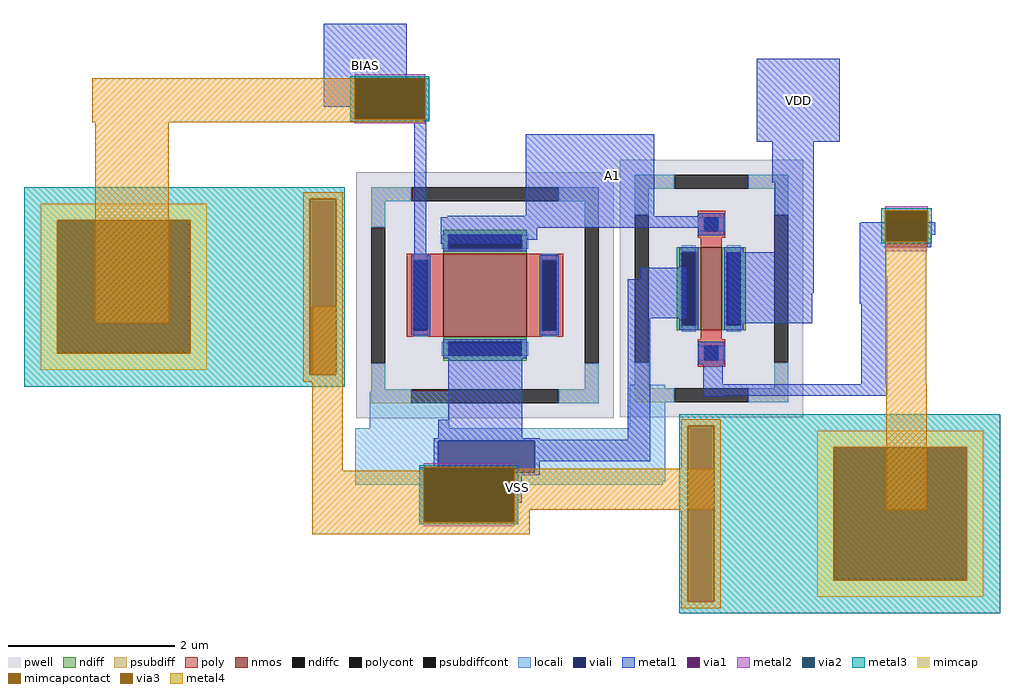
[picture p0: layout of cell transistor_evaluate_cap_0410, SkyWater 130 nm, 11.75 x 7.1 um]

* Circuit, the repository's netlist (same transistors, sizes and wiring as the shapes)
** sch_path: /home/isshu/tt_um_wakita_mux8onehot_pulldown_mosfet_fix/sch/transistor_evaluate_cap_0410.sch
.subckt transistor_evaluate_cap_0410 VSS A1 BIAS VDD
*.PININFO VDD:I VSS:I BIAS:I A1:I
XM4 VDD A1 VSS VSS sky130_fd_pr__nfet_01v8 L=0.25 W=1 nf=1 m=1
XM5 A1 BIAS VSS VSS sky130_fd_pr__nfet_01v8 L=1 W=1 nf=1 m=1
XC1 BIAS VSS sky130_fd_pr__cap_mim_m3_1 W=2 L=2 m=1
XC2 A1 VSS sky130_fd_pr__cap_mim_m3_1 W=2 L=2 m=1
.ends

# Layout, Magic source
magic
tech sky130A
magscale 1 2
<< locali >>
rect 1200 -522 1392 -434
rect 1826 -522 1912 -418
rect 1166 -552 1912 -522
rect 1166 -630 1366 -552
rect 1598 -630 1912 -552
rect 1166 -650 1912 -630
rect 1166 -658 1906 -650
<< viali >>
rect 1366 -630 1598 -552
<< metal1 >>
rect 1090 320 1290 452
rect 1090 252 1164 320
rect 1154 222 1164 252
rect 1334 222 1344 320
rect 1308 -282 1336 222
rect 1576 -10 1886 186
rect 2132 168 2332 368
rect 2170 70 2270 168
rect 1388 -12 1886 -10
rect 1992 -12 2054 -4
rect 1388 -14 2054 -12
rect 1372 -40 2054 -14
rect 1372 -68 1604 -40
rect 1992 -58 2054 -40
rect 1372 -78 1562 -68
rect 2176 -98 2270 70
rect 2384 -28 2562 -26
rect 1852 -164 1964 -136
rect 1822 -258 1964 -164
rect 2064 -196 2270 -98
rect 2380 -32 2562 -28
rect 2380 -86 2442 -32
rect 2542 -56 2562 -32
rect 2542 -86 2552 -56
rect 2380 -156 2444 -86
rect 1390 -502 1568 -318
rect 1366 -546 1568 -502
rect 1354 -550 1610 -546
rect 1822 -550 1876 -258
rect 2064 -270 2266 -196
rect 2380 -222 2446 -156
rect 1992 -368 2054 -314
rect 2004 -416 2050 -368
rect 2384 -416 2446 -222
rect 2004 -442 2446 -416
rect 2004 -444 2444 -442
rect 2004 -446 2050 -444
rect 1354 -552 1876 -550
rect 1354 -616 1366 -552
rect 1598 -602 1876 -552
rect 1320 -748 1330 -616
rect 1598 -630 1610 -602
rect 1548 -636 1610 -630
rect 1548 -702 1566 -636
rect 1548 -748 1558 -702
<< via1 >>
rect 1164 222 1334 320
rect 2442 -86 2542 -32
rect 1330 -630 1366 -616
rect 1366 -630 1548 -616
rect 1330 -748 1548 -630
<< metal2 >>
rect 1164 320 1334 330
rect 1164 212 1334 222
rect 2442 2 2544 12
rect 2542 -82 2544 -72
rect 2442 -96 2542 -86
rect 1330 -616 1548 -606
rect 1330 -758 1548 -748
<< via2 >>
rect 1164 222 1334 320
rect 2442 -32 2544 2
rect 2442 -72 2542 -32
rect 2542 -72 2544 -32
rect 1330 -748 1548 -616
<< metal3 >>
rect 1154 320 1344 325
rect 1154 222 1164 320
rect 1334 222 1344 320
rect 1154 217 1344 222
rect 2432 2 2554 7
rect 2432 -72 2442 2
rect 2544 -72 2554 2
rect 2432 -77 2554 -72
rect 1320 -616 1558 -611
rect 1320 -748 1330 -616
rect 1548 -748 1558 -616
rect 1320 -753 1558 -748
<< via3 >>
rect 1164 222 1334 320
rect 2442 -72 2544 2
rect 1330 -748 1548 -616
<< metal4 >>
rect 1163 320 1335 321
rect 532 222 1164 320
rect 1334 222 1335 320
rect 532 221 1335 222
rect 532 214 1328 221
rect 540 -270 716 214
rect 2441 2 2545 3
rect 2441 -72 2442 2
rect 2544 -72 2545 2
rect 2441 -73 2545 -72
rect 1062 -624 1136 -228
rect 2442 -416 2540 -73
rect 2442 -418 2542 -416
rect 1329 -616 1549 -615
rect 1329 -624 1330 -616
rect 1062 -748 1330 -624
rect 1548 -620 1549 -616
rect 1548 -718 2034 -620
rect 2444 -718 2542 -418
rect 1548 -748 1586 -718
rect 1062 -778 1586 -748
use sky130_fd_pr__cap_mim_m3_1_A5W7HU  XC1
transform 1 0 754 0 1 -182
box -386 -240 386 240
use sky130_fd_pr__cap_mim_m3_1_A5W7HU  XC2
transform -1 0 2332 0 1 -728
box -386 -240 386 240
use sky130_fd_pr__nfet_01v8_HHPQSU  XM4
transform 1 0 2023 0 1 -186
box -221 -310 221 310
use sky130_fd_pr__nfet_01v8_2B38KW  XM5
transform 0 1 1478 -1 0 -202
box -296 -310 296 310
<< labels >>
flabel metal1 2132 168 2332 368 0 FreeSans 256 0 0 0 VDD
port 3 nsew
flabel metal1 1686 -14 1886 186 0 FreeSans 256 0 0 0 A1
port 1 nsew
flabel metal1 1548 -702 1566 -630 0 FreeSans 256 0 0 0 VSS
port 0 nsew
flabel metal1 1090 252 1290 452 0 FreeSans 256 0 0 0 BIAS
port 2 nsew
<< end >>

# cell sky130_fd_pr__cap_mim_m3_1_A5W7HU: kit device sky130_fd_pr__cap_mim_m3_1, w 2.0 l 2.0 val 9.52 carea 2.00 cperi 0.19 class capacitor nx 1 ny 1 dummy 0 square 0 lmin 2.00 wmin 2.00 lmax 30.0 wmax 30.0 dc 0 bconnect 1 tconnect 1 ccov 100

# cell sky130_fd_pr__nfet_01v8_HHPQSU: kit device sky130_fd_pr__nfet_01v8, w 1.0 l 0.25 m 1 nf 1 diffcov 100 polycov 100 guard 1 glc 1 grc 1 gtc 1 gbc 1 tbcov 100 rlcov 100 topc 1 botc 1 poverlap 0 doverlap 1 lmin 0.15 wmin 0.42 class mosfet compatible {sky130_fd_pr__nfet_01v8 sky130_fd_pr__nfet_01v8_lvt sky130_fd_bs_flash__special_sonosfet_star sky130_fd_pr__nfet_g5v0d10v5 sky130_fd_pr__nfet_05v0_nvt sky130_fd_pr__nfet_03v3_nvt} full_metal 1 viasrc 100 viadrn 100 viagate 100 viagb 0 viagr 0 viagl 0 viagt 0

# cell sky130_fd_pr__nfet_01v8_2B38KW: kit device sky130_fd_pr__nfet_01v8, w 1.0 l 1.0 m 1 nf 1 diffcov 100 polycov 100 guard 1 glc 1 grc 1 gtc 1 gbc 1 tbcov 100 rlcov 100 topc 1 botc 1 poverlap 0 doverlap 1 lmin 0.15 wmin 0.42 class mosfet compatible {sky130_fd_pr__nfet_01v8 sky130_fd_pr__nfet_01v8_lvt sky130_fd_bs_flash__special_sonosfet_star sky130_fd_pr__nfet_g5v0d10v5 sky130_fd_pr__nfet_05v0_nvt sky130_fd_pr__nfet_03v3_nvt} full_metal 1 viasrc 100 viadrn 100 viagate 100 viagb 0 viagr 0 viagl 0 viagt 0
